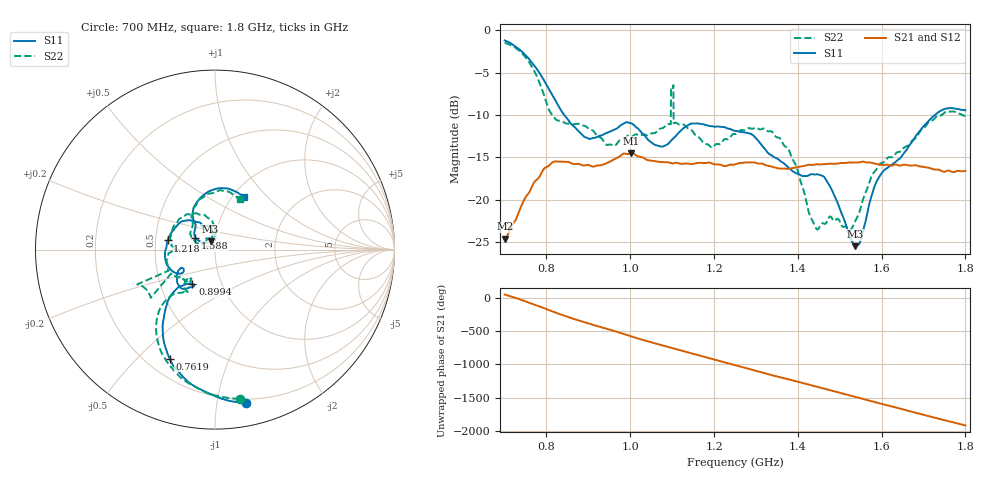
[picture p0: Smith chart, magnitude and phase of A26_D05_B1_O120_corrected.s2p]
! Created with skrf 1.9.0 (http://scikit-rf.org).
# Hz S RI R 50.0
!freq ReS11 ImS11 ReS21 ImS21 ReS12 ImS12 ReS22 ImS22
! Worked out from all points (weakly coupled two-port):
!   1601 points, 700 MHz to 1.8 GHz, reference 50 ohm
!   highest |S21| = -14.51 dB at 1.002 GHz (marker M1); lowest = -24.6 dB at 700.7 MHz (marker M2)
!   lowest |S11| = -25.5 dB at 1.537 GHz (marker M3), VSWR 1.11, Z = 47.4 + j4.5 ohm
!   |S11| at or under -10 dB: 842.1 MHz to 1.727 GHz (885 MHz wide, 68.9 % of centre)
!   |S22| runs from -23.6 to -1.5 dB; largest |S21 - S12| = 0.0035
!   S11 on the Smith chart (normalised r, x): 700 MHz: 0.17, -1.21; 761.9 MHz: 0.29, -0.63; 899.4 MHz: 0.73, -0.29; 1.218 GHz: 0.58, +0.06; 1.588 GHz: 0.80, +0.11; 1.8 GHz: 1.12, +0.75
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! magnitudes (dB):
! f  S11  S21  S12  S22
! 700 MHz  -1.2  -24.6  -24.4  -1.5
! 700.7 MHz  -1.2  -24.6  -24.3  -1.5
! 761.9 MHz  -3.6  -18.8  -18.8  -4.0
! 818.2 MHz  -8.0  -15.5  -15.6  -10.3
! 883.6 MHz  -12.3  -15.9  -15.8  -11.2
! 899.4 MHz  -12.8  -15.9  -15.9  -11.6
! 946.1 MHz  -12.1  -15.6  -15.7  -13.5
! 1.002 GHz  -11.0  -14.5  -14.6  -12.6
! 1.067 GHz  -13.7  -15.5  -15.5  -11.8
! 1.103 GHz  -12.8  -15.7  -15.7  -6.5
! 1.109 GHz  -12.5  -15.6  -15.7  -10.9
! 1.218 GHz  -11.4  -15.9  -16.0  -13.3
! 1.25 GHz  -11.9  -15.8  -15.8  -12.3
! 1.358 GHz  -15.4  -16.3  -16.3  -12.8
! 1.396 GHz  -16.9  -16.2  -16.2  -16.0
! 1.434 GHz  -17.0  -15.9  -15.9  -22.3
! 1.471 GHz  -18.0  -15.8  -15.8  -22.4
! 1.537 GHz  -25.5  -15.6  -15.6  -22.6
! 1.588 GHz  -17.9  -15.8  -15.8  -16.4
! 1.617 GHz  -16.1  -15.9  -15.9  -15.0
! 1.733 GHz  -9.8  -16.4  -16.5  -10.1
! 1.8 GHz  -9.5  -16.6  -16.6  -10.1
